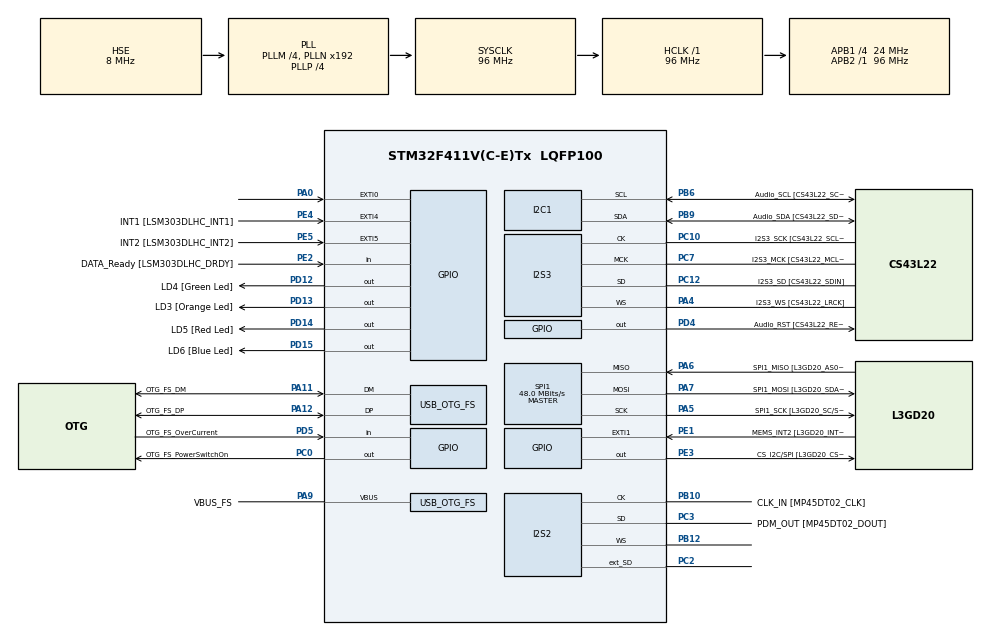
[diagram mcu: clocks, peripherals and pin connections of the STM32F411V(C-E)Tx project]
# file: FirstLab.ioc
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I2S2.AudioFreq=I2S_AUDIOFREQ_96K
I2S2.ErrorAudioFreq=0.15 %
I2S2.FullDuplexMode=I2S_FULLDUPLEXMODE_ENABLE
I2S2.Instance=SPI$Index
I2S2.RealAudioFreq=96.153 KHz
I2S2.VirtualMode=I2S_MODE_MASTER
I2S3.AudioFreq=I2S_AUDIOFREQ_96K
I2S3.ErrorAudioFreq=-6.99 %
I2S3.FullDuplexMode=I2S_FULLDUPLEXMODE_DISABLE
I2S3.Instance=SPI$Index
I2S3.RealAudioFreq=89.285 KHz
I2S3.VirtualMode=I2S_MODE_MASTER
Mcu.Family=STM32F4
Mcu.Name=STM32F411V(C-E)Tx
Mcu.Package=LQFP100
NVIC.OTG_FS_IRQn=true\:0\:0\:false\:false\:true\:true\:true\:true
NVIC.PriorityGroup=NVIC_PRIORITYGROUP_0
PA0-WKUP.GPIO_ModeDefaultEXTI=GPIO_MODE_EVT_RISING
PA0-WKUP.Signal=GPXTI0
PA10.GPIO_Label=OTG_FS_ID
PA10.Signal=USB_OTG_FS_ID
PA11.GPIO_Label=OTG_FS_DM
PA11.Mode=Host_Only
PA11.Signal=USB_OTG_FS_DM
PA12.GPIO_Label=OTG_FS_DP
PA12.Mode=Host_Only
PA12.Signal=USB_OTG_FS_DP
PA13.GPIO_Label=SWDIO
PA13.Mode=Serial_Wire
PA13.Signal=SYS_JTMS-SWDIO
PA14.GPIO_Label=SWCLK
PA14.Mode=Serial_Wire
PA14.Signal=SYS_JTCK-SWCLK
PA4.GPIO_Label=I2S3_WS [CS43L22_LRCK]
PA4.GPIO_Mode=GPIO_MODE_AF_PP
PA4.GPIO_PuPd=GPIO_NOPULL
PA4.GPIO_Speed=GPIO_SPEED_FREQ_LOW
PA4.Mode=Half_Duplex_Master
PA4.Signal=I2S3_WS
PA5.GPIO_Label=SPI1_SCK [L3GD20_SC/SPC]
PA5.Mode=Full_Duplex_Master
PA5.Signal=SPI1_SCK
PA6.GPIO_Label=SPI1_MISO [L3GD20_AS0/SDO]
PA6.Mode=Full_Duplex_Master
PA6.Signal=SPI1_MISO
PA7.GPIO_Label=SPI1_MOSI [L3GD20_SDA/SDI/SDO]
PA7.Mode=Full_Duplex_Master
PA7.Signal=SPI1_MOSI
PA9.GPIO_Label=VBUS_FS
PA9.Mode=Activate_VBUS
PA9.Signal=USB_OTG_FS_VBUS
PB10.GPIO_Label=CLK_IN [MP45DT02_CLK]
PB10.Mode=Full_Duplex_Master
PB10.Signal=I2S2_CK
PB12.Mode=Full_Duplex_Master
PB12.Signal=I2S2_WS
PB3.GPIO_Label=SWO
PB3.Signal=SYS_JTDO-SWO
PB6.GPIO_Label=Audio_SCL [CS43L22_SCL]
PB6.GPIO_Mode=GPIO_MODE_AF_OD
PB6.GPIO_Pu=GPIO_PULLUP
PB6.GPIO_PuPd=GPIO_NOPULL
PB6.GPIO_Speed=GPIO_SPEED_FREQ_LOW
PB6.Mode=I2C
PB6.Signal=I2C1_SCL
PB9.GPIO_Label=Audio_SDA [CS43L22_SDA]
PB9.GPIO_Mode=GPIO_MODE_AF_OD
PB9.GPIO_Pu=GPIO_PULLUP
PB9.GPIO_PuPd=GPIO_NOPULL
PB9.GPIO_Speed=GPIO_SPEED_FREQ_LOW
PB9.Mode=I2C
PB9.Signal=I2C1_SDA
PC0.GPIO_Label=OTG_FS_PowerSwitchOn
PC0.PinState=GPIO_PIN_SET
PC0.Signal=GPIO_Output
PC10.GPIO_Label=I2S3_SCK [CS43L22_SCLK]
PC10.GPIO_Mode=GPIO_MODE_AF_PP
PC10.GPIO_PuPd=GPIO_NOPULL
PC10.GPIO_Speed=GPIO_SPEED_FREQ_LOW
PC10.Mode=Half_Duplex_Master
PC10.Signal=I2S3_CK
PC12.GPIO_Label=I2S3_SD [CS43L22_SDIN]
PC12.GPIO_Mode=GPIO_MODE_AF_PP
PC12.GPIO_PuPd=GPIO_NOPULL
PC12.GPIO_Speed=GPIO_SPEED_FREQ_LOW
PC12.Mode=Half_Duplex_Master
PC12.Signal=I2S3_SD
PC14-OSC32_IN.GPIO_Label=PC14-OSC32_IN
PC14-OSC32_IN.Mode=LSE-External-Oscillator
PC14-OSC32_IN.Signal=RCC_OSC32_IN
PC15-OSC32_OUT.GPIO_Label=PC15-OSC32_OUT
PC15-OSC32_OUT.Mode=LSE-External-Oscillator
PC15-OSC32_OUT.Signal=RCC_OSC32_OUT
PC2.Mode=Full_Duplex_Master
PC2.Signal=I2S2_ext_SD
PC3.GPIO_Label=PDM_OUT [MP45DT02_DOUT]
PC3.Mode=Full_Duplex_Master
PC3.Signal=I2S2_SD
PC7.GPIO_Label=I2S3_MCK [CS43L22_MCLK]
PC7.GPIO_Mode=GPIO_MODE_AF_PP
PC7.GPIO_PuPd=GPIO_NOPULL
PC7.GPIO_Speed=GPIO_SPEED_FREQ_LOW
PC7.Mode=Master_Clock_Activated
PC7.Signal=I2S3_MCK
PD12.GPIO_Label=LD4 [Green Led]
PD12.GPIO_PuPd=GPIO_NOPULL
PD12.GPIO_Speed=GPIO_SPEED_FREQ_LOW
PD12.Signal=GPIO_Output
PD13.GPIO_Label=LD3 [Orange Led]
PD13.GPIO_PuPd=GPIO_NOPULL
PD13.GPIO_Speed=GPIO_SPEED_FREQ_LOW
PD13.Signal=GPIO_Output
PD14.GPIO_Label=LD5 [Red Led]
PD14.GPIO_PuPd=GPIO_NOPULL
PD14.GPIO_Speed=GPIO_SPEED_FREQ_LOW
PD14.Signal=GPIO_Output
PD15.GPIO_Label=LD6 [Blue Led]
PD15.GPIO_PuPd=GPIO_NOPULL
PD15.GPIO_Speed=GPIO_SPEED_FREQ_LOW
PD15.Signal=GPIO_Output
PD4.GPIO_Label=Audio_RST [CS43L22_RESET]
PD4.Signal=GPIO_Output
PD5.GPIO_Label=OTG_FS_OverCurrent
PD5.Signal=GPIO_Input
PE1.GPIO_Label=MEMS_INT2 [L3GD20_INT2]
PE1.GPIO_ModeDefaultEXTI=GPIO_MODE_EVT_RISING
PE1.Signal=GPXTI1
PE2.GPIO_Label=DATA_Ready [LSM303DLHC_DRDY]
PE2.Signal=GPIO_Input
PE3.GPIO_Label=CS_I2C/SPI [L3GD20_CS_I2C/SPI]
PE3.Signal=GPIO_Output
PE4.GPIO_Label=INT1 [LSM303DLHC_INT1]
PE4.GPIO_ModeDefaultEXTI=GPIO_MODE_EVT_RISING
PE4.Signal=GPXTI4
PE5.GPIO_Label=INT2 [LSM303DLHC_INT2]
PE5.GPIO_ModeDefaultEXTI=GPIO_MODE_EVT_RISING
PE5.Signal=GPXTI5
PH0\ -\ OSC_IN.GPIO_Label=PH0-OSC_IN
PH0\ -\ OSC_IN.Mode=HSE-External-Oscillator
PH0\ -\ OSC_IN.Signal=RCC_OSC_IN
PH1\ -\ OSC_OUT.GPIO_Label=PH1-OSC_OUT
PH1\ -\ OSC_OUT.Mode=HSE-External-Oscillator
PH1\ -\ OSC_OUT.Signal=RCC_OSC_OUT
ProjectManager.HeapSize=0x200
ProjectManager.StackSize=0x400
ProjectManager.TargetToolchain=STM32CubeIDE
RCC.48MHZClocksFreq_Value=48000000
RCC.AHBFreq_Value=96000000
RCC.APB1CLKDivider=RCC_HCLK_DIV4
RCC.APB1Freq_Value=24000000
RCC.APB1TimFreq_Value=48000000
RCC.APB2Freq_Value=96000000
RCC.APB2TimFreq_Value=96000000
RCC.CortexFreq_Value=96000000
RCC.HCLKFreq_Value=96000000
RCC.HSE_VALUE=8000000
RCC.HSI_VALUE=16000000
RCC.PLLI2SM=5
RCC.PLLI2SN=200
RCC.PLLM=4
RCC.PLLP=RCC_PLLP_DIV4
RCC.PLLQ=8
RCC.SYSCLKFreq_VALUE=96000000
RCC.SYSCLKSource=RCC_SYSCLKSOURCE_PLLCLK
RCC.VCOOutputFreq_Value=384000000
SPI1.BaudRatePrescaler=SPI_BAUDRATEPRESCALER_2
SPI1.CalculateBaudRate=48.0 MBits/s
SPI1.Direction=SPI_DIRECTION_2LINES
SPI1.Mode=SPI_MODE_MASTER
SPI1.VirtualType=VM_MASTER
USB_HOST.BSP.number=1
USB_HOST.USBH_HandleTypeDef=hUsbHostFS
USB_HOST.VirtualModeFS=Cdc
USB_HOST0.BSP.STBoard=false
USB_HOST0.BSP.api=Unknown
USB_HOST0.BSP.instance=PC0
USB_HOST0.BSP.ip=GPIO
USB_HOST0.BSP.mode=Output
USB_HOST0.BSP.name=Drive_VBUS_FS
USB_HOST0.BSP.solution=PC0
USB_OTG_FS.VirtualMode=Host_Only
USB_OTG_FS.phy_itface=HCD_PHY_EMBEDDED
VP_USB_HOST_VS_USB_HOST_CDC_FS.Mode=CDC_FS
board=STM32F411E-DISCO

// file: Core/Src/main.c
/* USER CODE BEGIN Header */
/**
  ******************************************************************************
  * @file           : main.c
  * @brief          : Main program body
  ******************************************************************************
  * @attention
  *
  * Copyright (c) 2022 STMicroelectronics.
  * All rights reserved.
  *
  * This software is licensed under terms that can be found in the LICENSE file
  * in the root directory of this software component.
  * If no LICENSE file comes with this software, it is provided AS-IS.
  *
  ******************************************************************************
  */
/* USER CODE END Header */
#include "main.h"
#include "i2c.h"
#include "i2s.h"
#include "spi.h"
#include "usb_host.h"
#include "gpio.h"

void SystemClock_Config(void);
void PeriphCommonClock_Config(void);
void MX_USB_HOST_Process(void);

int main(void)
{

  /* MCU Configuration--------------------------------------------------------*/

  /* Reset of all peripherals, Initializes the Flash interface and the Systick. */
  HAL_Init();

  /* Configure the system clock */
  SystemClock_Config();

/* Configure the peripherals common clocks */
  PeriphCommonClock_Config();

  /* Initialize all configured peripherals */
  MX_GPIO_Init();
  MX_I2C1_Init();
  MX_I2S2_Init();
  MX_I2S3_Init();
  MX_SPI1_Init();
  MX_USB_HOST_Init();

  /* Infinite loop */
  /* USER CODE BEGIN WHILE */
  uint16_t lights[] = {GPIO_PIN_12, GPIO_PIN_13, GPIO_PIN_14, GPIO_PIN_15};
  int8_t direction = 1;
  int8_t idx = 0;

  while (1)
  {
    /* USER CODE END WHILE */
    MX_USB_HOST_Process();

    /* USER CODE BEGIN 3 */
    if(HAL_GPIO_ReadPin(GPIOA, GPIO_PIN_0) == GPIO_PIN_SET){
         direction *= -1;
         HAL_Delay(50);
         while(HAL_GPIO_ReadPin(GPIOA, GPIO_PIN_0) == GPIO_PIN_SET){ }
         HAL_Delay(50);
    }

    idx += direction;
    idx %= 4;
    if (idx < 0){
    	idx = 3;
    }
    HAL_GPIO_TogglePin(GPIOD, lights[idx]);
    HAL_Delay(100);
    HAL_GPIO_TogglePin(GPIOD, lights[idx]);
    HAL_Delay(100);
  }
  /* USER CODE END 3 */
}

void SystemClock_Config(void)
{
  RCC_OscInitTypeDef RCC_OscInitStruct = {0};
  RCC_ClkInitTypeDef RCC_ClkInitStruct = {0};

  /** Configure the main internal regulator output voltage
  */
  __HAL_RCC_PWR_CLK_ENABLE();
  __HAL_PWR_VOLTAGESCALING_CONFIG(PWR_REGULATOR_VOLTAGE_SCALE1);

  /** Initializes the RCC Oscillators according to the specified parameters
  * in the RCC_OscInitTypeDef structure.
  */
  RCC_OscInitStruct.OscillatorType = RCC_OSCILLATORTYPE_HSE;
  RCC_OscInitStruct.HSEState = RCC_HSE_ON;
  RCC_OscInitStruct.PLL.PLLState = RCC_PLL_ON;
  RCC_OscInitStruct.PLL.PLLSource = RCC_PLLSOURCE_HSE;
  RCC_OscInitStruct.PLL.PLLM = 4;
  RCC_OscInitStruct.PLL.PLLN = 192;
  RCC_OscInitStruct.PLL.PLLP = RCC_PLLP_DIV4;
  RCC_OscInitStruct.PLL.PLLQ = 8;
  if (HAL_RCC_OscConfig(&RCC_OscInitStruct) != HAL_OK)
  {
    Error_Handler();
  }

  /** Initializes the CPU, AHB and APB buses clocks
  */
  RCC_ClkInitStruct.ClockType = RCC_CLOCKTYPE_HCLK|RCC_CLOCKTYPE_SYSCLK
                              |RCC_CLOCKTYPE_PCLK1|RCC_CLOCKTYPE_PCLK2;
  RCC_ClkInitStruct.SYSCLKSource = RCC_SYSCLKSOURCE_PLLCLK;
  RCC_ClkInitStruct.AHBCLKDivider = RCC_SYSCLK_DIV1;
  RCC_ClkInitStruct.APB1CLKDivider = RCC_HCLK_DIV4;
  RCC_ClkInitStruct.APB2CLKDivider = RCC_HCLK_DIV1;

  if (HAL_RCC_ClockConfig(&RCC_ClkInitStruct, FLASH_LATENCY_3) != HAL_OK)
  {
    Error_Handler();
  }
}

void PeriphCommonClock_Config(void)
{
  RCC_PeriphCLKInitTypeDef PeriphClkInitStruct = {0};

  /** Initializes the peripherals clock
  */
  PeriphClkInitStruct.PeriphClockSelection = RCC_PERIPHCLK_I2S;
  PeriphClkInitStruct.PLLI2S.PLLI2SN = 200;
  PeriphClkInitStruct.PLLI2S.PLLI2SM = 5;
  PeriphClkInitStruct.PLLI2S.PLLI2SR = 2;
  if (HAL_RCCEx_PeriphCLKConfig(&PeriphClkInitStruct) != HAL_OK)
  {
    Error_Handler();
  }
}

void Error_Handler(void)
{
  __disable_irq();
  while (1)
  {
  }
}
